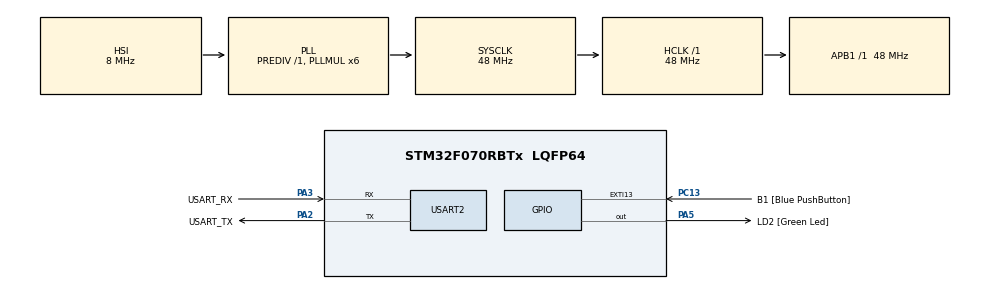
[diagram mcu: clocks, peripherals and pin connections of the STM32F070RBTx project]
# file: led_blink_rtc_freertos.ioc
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FREERTOS.Tasks01=defaultTask,0,128,menu_task,Default,NULL,Dynamic,NULL,NULL
FREERTOS.configUSE_TIMERS=1
Mcu.Family=STM32F0
Mcu.Name=STM32F070RBTx
Mcu.Package=LQFP64
NVIC.TIM6_IRQn=true\:3\:0\:false\:false\:true\:false\:false\:true\:true
NVIC.TimeBase=TIM6_IRQn
NVIC.TimeBaseIP=TIM6
NVIC.USART2_IRQn=true\:3\:0\:true\:false\:true\:true\:true\:true\:true
PA13.GPIO_Label=TMS
PA13.Mode=Serial_Wire
PA13.Signal=SYS_SWDIO
PA14.GPIO_Label=TCK
PA14.Mode=Serial_Wire
PA14.Signal=SYS_SWCLK
PA2.GPIO_Label=USART_TX
PA2.Mode=Asynchronous
PA2.Signal=USART2_TX
PA3.GPIO_Label=USART_RX
PA3.Mode=Asynchronous
PA3.Signal=USART2_RX
PA5.GPIO_Label=LD2 [Green Led]
PA5.Signal=GPIO_Output
PC13.GPIO_Label=B1 [Blue PushButton]
PC13.GPIO_ModeDefaultEXTI=GPIO_MODE_IT_FALLING
PC13.Signal=GPXTI13
PC14-OSC32_IN.GPIO_Label=RCC_OSC32_IN
PC14-OSC32_IN.Mode=LSE-External-Oscillator
PC14-OSC32_IN.Signal=RCC_OSC32_IN
PC15-OSC32_OUT.GPIO_Label=RCC_OSC32_OUT
PC15-OSC32_OUT.Mode=LSE-External-Oscillator
PC15-OSC32_OUT.Signal=RCC_OSC32_OUT
PF0-OSC_IN.GPIO_Label=RCC_OSC_IN
PF0-OSC_IN.Mode=HSE-External-Clock-Source
PF0-OSC_IN.Signal=RCC_OSC_IN
PF1-OSC_OUT.GPIO_Label=RCC_OSC_OUT
PF1-OSC_OUT.Signal=RCC_OSC_OUT
ProjectManager.HeapSize=0x200
ProjectManager.StackSize=0x400
ProjectManager.TargetToolchain=STM32CubeIDE
RCC.AHBFreq_Value=48000000
RCC.APB1Freq_Value=48000000
RCC.APB1TimFreq_Value=48000000
RCC.HCLKFreq_Value=48000000
RCC.PLLMUL=RCC_PLL_MUL6
RCC.SYSCLKFreq_VALUE=48000000
RCC.SYSCLKSource=RCC_SYSCLKSOURCE_PLLCLK
RTC.HourFormat=RTC_HOURFORMAT_12
USART2.VirtualMode-Asynchronous=VM_ASYNC
VP_FREERTOS_VS_CMSIS_V1.Mode=CMSIS_V1
VP_RTC_VS_RTC_Activate.Mode=RTC_Enabled
VP_SYS_VS_tim6.Mode=TIM6
board=NUCLEO-F070RB

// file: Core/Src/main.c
/* USER CODE BEGIN Header */
/**
  ******************************************************************************
  * @file           : main.c
  * @brief          : Main program body
  ******************************************************************************
  * @attention
  *
  * Copyright (c) 2023 STMicroelectronics.
  * All rights reserved.
  *
  * This software is licensed under terms that can be found in the LICENSE file
  * in the root directory of this software component.
  * If no LICENSE file comes with this software, it is provided AS-IS.
  *
  ******************************************************************************
  */
/* USER CODE END Header */
#include "main.h"
#include "cmsis_os.h"

 RTC_HandleTypeDef hrtc;

UART_HandleTypeDef huart2;

osThreadId defaultTaskHandle;

void SystemClock_Config(void);
static void MX_GPIO_Init(void);
static void MX_USART2_UART_Init(void);
static void MX_RTC_Init(void);
void menu_task(void const * argument);

/* USER CODE BEGIN 0 */
xTaskHandle handle_cmd_task;
xTaskHandle handle_print_task;
xTaskHandle handle_led_task;
xTaskHandle handle_rtc_task;

QueueHandle_t q_data;
QueueHandle_t q_print;

volatile uint8_t user_data;

state_t curr_state = sMainMenu;

static const char *msg_inv = "////Invalid option////\n\r";

TimerHandle_t rtc_timer;

/* USER CODE END 0 */

int main(void)
{

  /* MCU Configuration--------------------------------------------------------*/

  /* Reset of all peripherals, Initializes the Flash interface and the Systick. */
  HAL_Init();

  /* Configure the system clock */
  SystemClock_Config();

  /* Initialize all configured peripherals */
  MX_GPIO_Init();
  MX_USART2_UART_Init();
  MX_RTC_Init();
  /* USER CODE BEGIN 2 */

  xTaskCreate(cmd_task, "cmd_task", 64, NULL, osPriorityNormal, &handle_cmd_task);

  xTaskCreate(print_task, "print_task", 64, NULL, osPriorityNormal, &handle_print_task);

  xTaskCreate(led_task, "led_task", 64, NULL, osPriorityNormal, &handle_led_task);

  xTaskCreate(rtc_task, "rtc_task", 250, NULL, osPriorityNormal, &handle_rtc_task);

  q_data = xQueueCreate(10, sizeof(char));

  q_print = xQueueCreate(10, sizeof(size_t));

  HAL_UART_Receive_IT(&huart2, &user_data, 1);

  /* USER CODE END 2 */

  /* Create the thread(s) */
  /* definition and creation of defaultTask */
  osThreadDef(defaultTask, menu_task, osPriorityNormal, 0, 64);
  defaultTaskHandle = osThreadCreate(osThread(defaultTask), NULL);

  /* Start scheduler */
  osKernelStart();

  /* We should never get here as control is now taken by the scheduler */
  /* Infinite loop */
  while (1)
  {

  }
}

void SystemClock_Config(void)
{
  RCC_OscInitTypeDef RCC_OscInitStruct = {0};
  RCC_ClkInitTypeDef RCC_ClkInitStruct = {0};
  RCC_PeriphCLKInitTypeDef PeriphClkInit = {0};

  /** Initializes the RCC Oscillators according to the specified parameters
  * in the RCC_OscInitTypeDef structure.
  */
  RCC_OscInitStruct.OscillatorType = RCC_OSCILLATORTYPE_HSI|RCC_OSCILLATORTYPE_LSI;
  RCC_OscInitStruct.HSIState = RCC_HSI_ON;
  RCC_OscInitStruct.HSICalibrationValue = RCC_HSICALIBRATION_DEFAULT;
  RCC_OscInitStruct.LSIState = RCC_LSI_ON;
  RCC_OscInitStruct.PLL.PLLState = RCC_PLL_ON;
  RCC_OscInitStruct.PLL.PLLSource = RCC_PLLSOURCE_HSI;
  RCC_OscInitStruct.PLL.PLLMUL = RCC_PLL_MUL6;
  RCC_OscInitStruct.PLL.PREDIV = RCC_PREDIV_DIV1;
  if (HAL_RCC_OscConfig(&RCC_OscInitStruct) != HAL_OK)
  {
    Error_Handler();
  }

  /** Initializes the CPU, AHB and APB buses clocks
  */
  RCC_ClkInitStruct.ClockType = RCC_CLOCKTYPE_HCLK|RCC_CLOCKTYPE_SYSCLK
                              |RCC_CLOCKTYPE_PCLK1;
  RCC_ClkInitStruct.SYSCLKSource = RCC_SYSCLKSOURCE_PLLCLK;
  RCC_ClkInitStruct.AHBCLKDivider = RCC_SYSCLK_DIV1;
  RCC_ClkInitStruct.APB1CLKDivider = RCC_HCLK_DIV1;

  if (HAL_RCC_ClockConfig(&RCC_ClkInitStruct, FLASH_LATENCY_1) != HAL_OK)
  {
    Error_Handler();
  }
  PeriphClkInit.PeriphClockSelection = RCC_PERIPHCLK_RTC;
  PeriphClkInit.RTCClockSelection = RCC_RTCCLKSOURCE_LSI;
  if (HAL_RCCEx_PeriphCLKConfig(&PeriphClkInit) != HAL_OK)
  {
    Error_Handler();
  }
}

static void MX_RTC_Init(void)
{

  /** Initialize RTC Only
  */
  hrtc.Instance = RTC;
  hrtc.Init.HourFormat = RTC_HOURFORMAT_12;
  hrtc.Init.AsynchPrediv = 127;
  hrtc.Init.SynchPrediv = 255;
  hrtc.Init.OutPut = RTC_OUTPUT_DISABLE;
  hrtc.Init.OutPutPolarity = RTC_OUTPUT_POLARITY_HIGH;
  hrtc.Init.OutPutType = RTC_OUTPUT_TYPE_OPENDRAIN;
  if (HAL_RTC_Init(&hrtc) != HAL_OK)
  {
    Error_Handler();
  }

}

static void MX_USART2_UART_Init(void)
{

  huart2.Instance = USART2;
  huart2.Init.BaudRate = 38400;
  huart2.Init.WordLength = UART_WORDLENGTH_8B;
  huart2.Init.StopBits = UART_STOPBITS_1;
  huart2.Init.Parity = UART_PARITY_NONE;
  huart2.Init.Mode = UART_MODE_TX_RX;
  huart2.Init.HwFlowCtl = UART_HWCONTROL_NONE;
  huart2.Init.OverSampling = UART_OVERSAMPLING_16;
  huart2.Init.OneBitSampling = UART_ONE_BIT_SAMPLE_DISABLE;
  huart2.AdvancedInit.AdvFeatureInit = UART_ADVFEATURE_NO_INIT;
  if (HAL_UART_Init(&huart2) != HAL_OK)
  {
    Error_Handler();
  }

}

static void MX_GPIO_Init(void)
{
  GPIO_InitTypeDef GPIO_InitStruct = {0};

  /* GPIO Ports Clock Enable */
  __HAL_RCC_GPIOC_CLK_ENABLE();
  __HAL_RCC_GPIOF_CLK_ENABLE();
  __HAL_RCC_GPIOA_CLK_ENABLE();

  /*Configure GPIO pin Output Level */
  HAL_GPIO_WritePin(GPIOA, GPIO_PIN_5, GPIO_PIN_RESET);

  /*Configure GPIO pin : PC13 */
  GPIO_InitStruct.Pin = GPIO_PIN_13;
  GPIO_InitStruct.Mode = GPIO_MODE_IT_FALLING;
  GPIO_InitStruct.Pull = GPIO_NOPULL;
  HAL_GPIO_Init(GPIOC, &GPIO_InitStruct);

  /*Configure GPIO pin : PA5 */
  GPIO_InitStruct.Pin = GPIO_PIN_5;
  GPIO_InitStruct.Mode = GPIO_MODE_OUTPUT_PP;
  GPIO_InitStruct.Pull = GPIO_NOPULL;
  GPIO_InitStruct.Speed = GPIO_SPEED_FREQ_LOW;
  HAL_GPIO_Init(GPIOA, &GPIO_InitStruct);

}

/* USER CODE BEGIN 4 */

void HAL_UART_RxCpltCallback(UART_HandleTypeDef *huart)
{

	uint8_t dummy;

	if( ! xQueueIsQueueFullFromISR(q_data)){
		//Enqueue data byte
		xQueueSendFromISR(q_data,(void*)&user_data, NULL);
	}
	else{
		if('\n' == user_data){
			//make sure that last byte of the queue is '\n'
			xQueueReceiveFromISR(q_data, (void*)&dummy, NULL);
			xQueueSendFromISR(q_data,(void*)&user_data, NULL);

		}

	}

	if('\n' == user_data){
		xTaskNotifyFromISR(handle_cmd_task,0,eNoAction,NULL);
	}

	HAL_UART_Receive_IT(&huart2, &user_data, 1);

}

/* USER CODE END 4 */

void menu_task(void const * argument)
{
  /* USER CODE BEGIN 5 */

	uint32_t cmd_addr;

	command_t *cmd;

	int option;

	const char* msg_menu = "\n\r========================\n\r"
								"|         Menu         |\n\r"
								"========================\n\r"
									"LED effect    ----> 0\n\r"
									"Date and time ----> 1\n\r"
									"Exit          ----> 2\n\r"
									"Enter your choice here : \n\r";

  /* Infinite loop */
  for(;;)
  {
	xQueueSend(q_print,&msg_menu,portMAX_DELAY);

	xTaskNotifyWait(0, 0, &cmd_addr, portMAX_DELAY);

    cmd = (command_t *)cmd_addr;

    if(cmd->len == 1){
    	option = cmd->payload[0] - 48;

    	switch(option){
    		case 0:
    			curr_state = sLedEffect;
    			xTaskNotify(handle_led_task, 0, eNoAction);
    			break;

    		case 1:
				curr_state = sRtcMenu;
				xTaskNotify(handle_rtc_task, 0, eNoAction);
				break;
    		case 2:
    			break;

    		default:
    			xQueueSend(q_print,&msg_inv,portMAX_DELAY);
    			continue;

    	}
    }else{
    	xQueueSend(q_print,&msg_inv,portMAX_DELAY);
		continue;

    }

    xTaskNotifyWait(0, 0,NULL, portMAX_DELAY);

  }
  /* USER CODE END 5 */
}

void HAL_TIM_PeriodElapsedCallback(TIM_HandleTypeDef *htim)
{
  if (htim->Instance == TIM6) {
    HAL_IncTick();
  }
}

void Error_Handler(void)
{
  __disable_irq();
  while (1)
  {
  }
}
